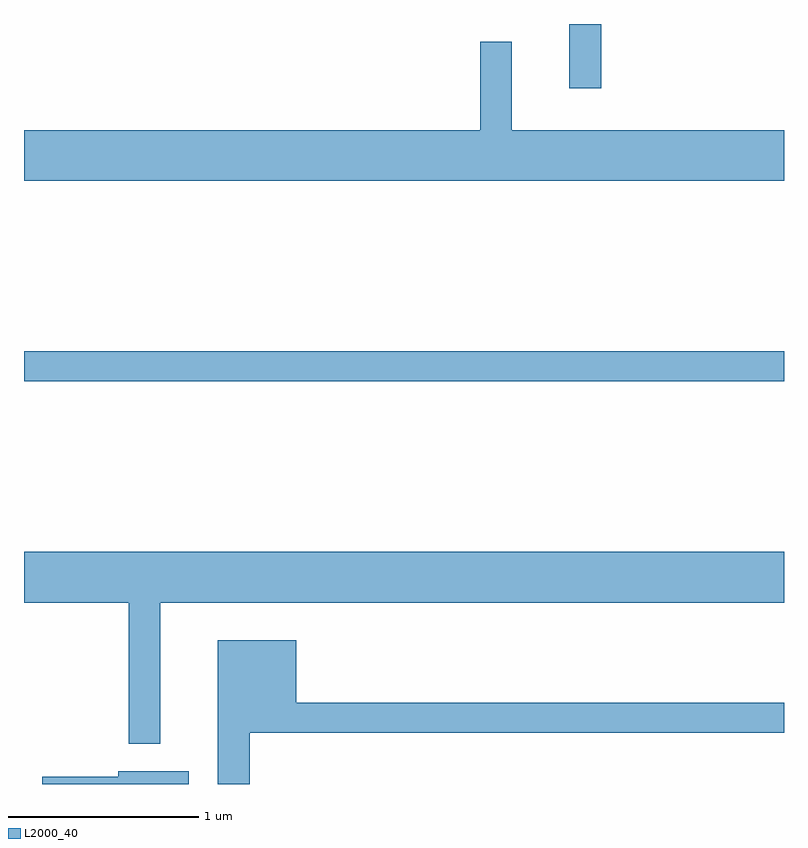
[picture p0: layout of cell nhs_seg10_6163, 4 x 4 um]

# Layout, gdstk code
import gdstk
lib = gdstk.Library(unit=1e-6, precision=1e-09)
def R(c, l, rs):  # rectangles x0, y0, x1, y1
    for r in rs: c.add(gdstk.rectangle(r[:2], r[2:], *l))
def P(c, l, *ps):  # polygons
    for p in ps: c.add(gdstk.Polygon(p, *l))
L2000_40 = (2000, 40)

nhs_seg10_6163 = lib.new_cell('nhs_seg10_6163')
R(nhs_seg10_6163, L2000_40, [(367.611,2110.641,371.611,2110.799), (370.481,2112.183,370.649,2112.522)])
P(nhs_seg10_6163, L2000_40, [(371.611,2111.964),(370.179,2111.964),(370.179,2112.428),(370.011,2112.428),(370.011,2111.964),(367.611,2111.964),(367.611,2111.696),(371.611,2111.696)],
  [(368.329,2109.476),(371.611,2109.476),(371.611,2109.744),(367.611,2109.744),(367.611,2109.476),(368.161,2109.476),(368.161,2108.733),(368.329,2108.733)],
  [(368.799,2108.791),(371.611,2108.791),(371.611,2108.949),(369.044,2108.949),(369.044,2109.279),(368.631,2109.279),(368.631,2108.522),(368.799,2108.522)],
  [(368.479,2108.589),(368.106,2108.589),(368.106,2108.559),(367.706,2108.559),(367.706,2108.522),(368.479,2108.522)])

lib.write_gds('nhs_seg10_6163.gds')
